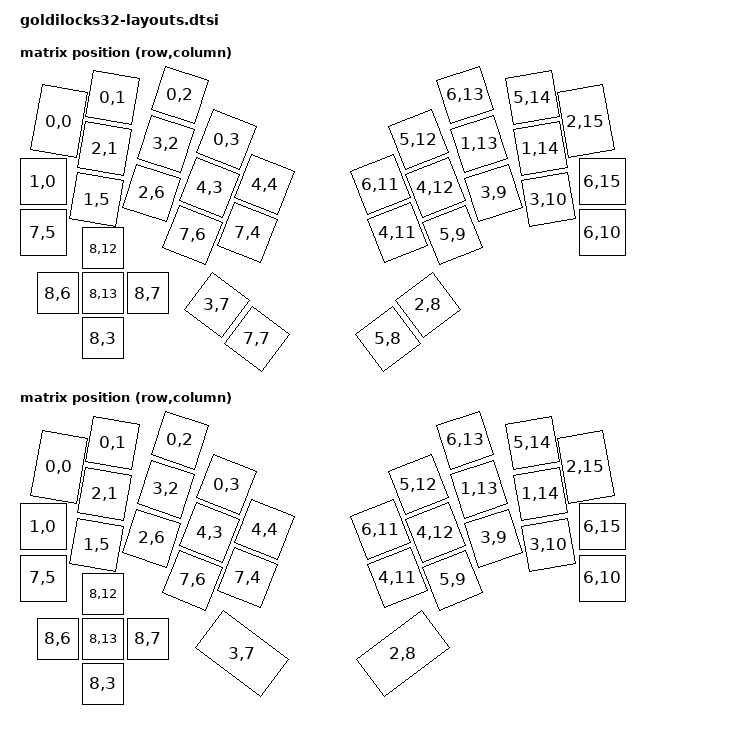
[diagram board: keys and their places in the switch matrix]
#include <physical_layouts.dtsi>


    /* Physical layout close to this:
     *
     * ┌───┬───┬───┬───┐                   ┌───┬───┬───┬───┐
     * │ Q │ W │ E │ R ├───┐           ┌───┤ U │ I │ O │ P │
     * ├───┼───┼───┼───┤ T │           │ Y ├───┼───┼───┼───┤
     * │ A │ S │ D │ F ├───┤           ├───┤ J │ K │ L │ ; │
     * ├───┼───┼───┼───┤ G │           │ H ├───┼───┼───┼───┤
     * │ Z │ X │ C │ V ├───┘           └───┤ M │ , │ . │ / │
     * └───┴───┴───┴───┘                   └───┴───┴───┴───┘
     *                 ┌───┬───┐  ┌───┬───┐
     *      (5-way)    │ B │BkS│  │SPC│ N │
     *                 └───┴───┘  └───┴───┘
     *
     * Logical rows as used in the DTSI file:
     *
     * Q 	W 	E 	R 	T 	   	Y 	U 	I 	O 	P
     * A 	S 	D 	F 	G 	   	H 	J 	K 	L 	;
     * Z 	X 	C 	V 	B 	   	N 	M 	, 	. 	/
     *   	  	  	⬆️	⬅️	⏺️	➡️	⬇️
     *   	  	  	  	⌫ 	   	␠
     *
     * The RC(#, #) columns and row value below are the scaning matrix (GPIOs), not physical/logical!
     * Scannig cols 0-7 on left, then 8-15 on the right with row 8 just for the 5-way nav.
     * The layout variant drops the thumb-keys listed at the end.
     */

/ {
    matrix_transform32: matrix_transform32 {
        compatible = "zmk,matrix-transform";
        columns = <16>;
        rows = <9>;
        map = <
            RC(0,0) RC(0,1) RC(0,2) RC(0,3)  RC(4,4)          RC(6,11) RC(5,12) RC(6,13) RC(5,14) RC(2,15)
            RC(1,0) RC(2,1) RC(3,2) RC(4,3)  RC(7,4)          RC(4,11) RC(4,12) RC(1,13) RC(1,14) RC(6,15)
            RC(7,5) RC(1,5) RC(2,6) RC(7,6)  RC(3,7)          RC(2,8)  RC(5,9)  RC(3,9)  RC(3,10) RC(6,10)
                                    RC(8,12) RC(8,6) RC(8,13) RC(8,7)  RC(8,3)
                                             RC(7,7)          RC(5,8)
        >;
    };

    matrix_transform30: matrix_transform30 {
        compatible = "zmk,matrix-transform";
        columns = <16>;
        rows = <9>;
        map = <
            RC(0,0) RC(0,1) RC(0,2) RC(0,3)  RC(4,4)          RC(6,11) RC(5,12) RC(6,13) RC(5,14) RC(2,15)
            RC(1,0) RC(2,1) RC(3,2) RC(4,3)  RC(7,4)          RC(4,11) RC(4,12) RC(1,13) RC(1,14) RC(6,15)
            RC(7,5) RC(1,5) RC(2,6) RC(7,6)  RC(3,7)          RC(2,8)  RC(5,9)  RC(3,9)  RC(3,10) RC(6,10)
                                    RC(8,12) RC(8,6) RC(8,13) RC(8,7)  RC(8,3)
        >;
    };

    physical_layout32: physical_layout32 {
        compatible = "zmk,physical-layout";
        display-name = "32-keys";

        input = <&matrix>;
        transform = <&matrix_transform32>;
        keys  //                     w   h    x    y     rot    rx    ry
            = <&key_physical_attrs 100 140   36   33    1000    86    83>
            , <&key_physical_attrs 100 100  139    5    1000   189    55>
            , <&key_physical_attrs 100 100  274    0    1800   324    50>
            , <&key_physical_attrs 100 100  367   89    2200   417   139>
            , <&key_physical_attrs 100 100  443  179    2200   493   229>
            , <&key_physical_attrs 100 100  675  179 (-2200)   725   229>
            , <&key_physical_attrs 100 100  751   89 (-2200)   801   139>
            , <&key_physical_attrs 100 100  844    0 (-1800)   894    50>
            , <&key_physical_attrs 100 100  979    5 (-1000)  1029    55>
            , <&key_physical_attrs 100 140 1082   33 (-1000)  1132    83>
            , <&key_physical_attrs 100 100    0  173       0     0   173>
            , <&key_physical_attrs 100 100  123  107    1000   173   157>
            , <&key_physical_attrs 100 100  246   98    1800   296   148>
            , <&key_physical_attrs 100 100  333  185    2200   383   235>
            , <&key_physical_attrs 100 100  409  275    2200   459   325>
            , <&key_physical_attrs 100 100  709  275 (-2200)   759   325>
            , <&key_physical_attrs 100 100  785  185 (-2200)   835   235>
            , <&key_physical_attrs 100 100  872   98 (-1800)   922   148>
            , <&key_physical_attrs 100 100  995  107 (-1000)  1045   157>
            , <&key_physical_attrs 100 100 1118  173       0  1118   173>
            , <&key_physical_attrs 100 100    0  276       0     0   276>
            , <&key_physical_attrs 100 100  107  209    1000   157   259>
            , <&key_physical_attrs 100 100  217  196    1800   267   246>
            , <&key_physical_attrs 100 100  299  280    2200   349   330>
            , <&key_physical_attrs 100 100  348  420    3700   398   470>
            , <&key_physical_attrs 100 100  770  420 (-3700)   820   470>
            , <&key_physical_attrs 100 100  819  280 (-2200)   869   330>
            , <&key_physical_attrs 100 100  901  196 (-1800)   951   246>
            , <&key_physical_attrs 100 100 1011  209 (-1000)  1061   259>
            , <&key_physical_attrs 100 100 1118  276       0  1118   276>
            , <&key_physical_attrs  90  90  125  312       0   125   312>
            , <&key_physical_attrs  90  90   35  402       0    35   402>
            , <&key_physical_attrs  90  90  125  402       0   125   402>
            , <&key_physical_attrs  90  90  215  402       0   215   402>
            , <&key_physical_attrs  90  90  125  492       0   125   492>
            , <&key_physical_attrs 100 100  428  488    3700   478   538>
            , <&key_physical_attrs 100 100  690  488 (-3700)   740   538>
            ;
    };

    physical_layout30: physical_layout30 {
        compatible = "zmk,physical-layout";
        display-name = "30-key";

        input = <&matrix>;
        transform = <&matrix_transform30>;

        keys  //                     w   h    x    y     rot    rx    ry
            = <&key_physical_attrs 100 140   36   33    1000    86    83>
            , <&key_physical_attrs 100 100  139    5    1000   189    55>
            , <&key_physical_attrs 100 100  274    0    1800   324    50>
            , <&key_physical_attrs 100 100  367   89    2200   417   139>
            , <&key_physical_attrs 100 100  443  179    2200   493   229>
            , <&key_physical_attrs 100 100  675  179 (-2200)   725   229>
            , <&key_physical_attrs 100 100  751   89 (-2200)   801   139>
            , <&key_physical_attrs 100 100  844    0 (-1800)   894    50>
            , <&key_physical_attrs 100 100  979    5 (-1000)  1029    55>
            , <&key_physical_attrs 100 140 1082   33 (-1000)  1132    83>
            , <&key_physical_attrs 100 100    0  173       0     0   173>
            , <&key_physical_attrs 100 100  123  107    1000   173   157>
            , <&key_physical_attrs 100 100  246   98    1800   296   148>
            , <&key_physical_attrs 100 100  333  185    2200   383   235>
            , <&key_physical_attrs 100 100  409  275    2200   459   325>
            , <&key_physical_attrs 100 100  709  275 (-2200)   759   325>
            , <&key_physical_attrs 100 100  785  185 (-2200)   835   235>
            , <&key_physical_attrs 100 100  872   98 (-1800)   922   148>
            , <&key_physical_attrs 100 100  995  107 (-1000)  1045   157>
            , <&key_physical_attrs 100 100 1118  173       0  1118   173>
            , <&key_physical_attrs 100 100    0  276       0     0   276>
            , <&key_physical_attrs 100 100  107  209    1000   157   259>
            , <&key_physical_attrs 100 100  217  196    1800   267   246>
            , <&key_physical_attrs 100 100  299  280    2200   349   330>
            , <&key_physical_attrs 170 100  370  406    3700   420   456>
            , <&key_physical_attrs 170 100  698  446 (-3700)   748   506>
            , <&key_physical_attrs 100 100  819  280 (-2200)   869   330>
            , <&key_physical_attrs 100 100  901  196 (-1800)   951   246>
            , <&key_physical_attrs 100 100 1011  209 (-1000)  1061   259>
            , <&key_physical_attrs 100 100 1118  276       0  1118   276>
            , <&key_physical_attrs  90  90  125  312       0   125   312>
            , <&key_physical_attrs  90  90   35  402       0    35   402>
            , <&key_physical_attrs  90  90  125  402       0   125   402>
            , <&key_physical_attrs  90  90  215  402       0   215   402>
            , <&key_physical_attrs  90  90  125  492       0   125   492>
            ;
    };
};

/ {
    position_map {
        compatible = "zmk,physical-layout-position-map";

        physical_layout32 {
            physical-layout = <&physical_layout32>;
            positions = <24 25 35 36>;
        };

        physical_layout30 {
            physical-layout = <&physical_layout30>;
            positions = <24 25 35 36>;
        };
    };
};
